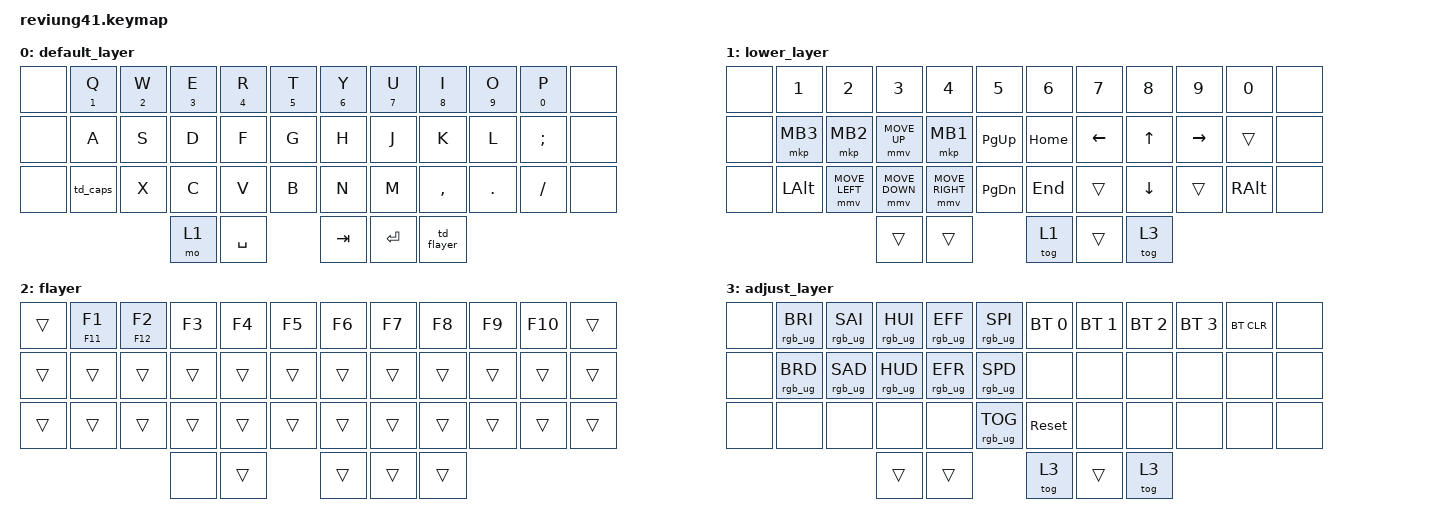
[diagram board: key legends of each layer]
/*
 * Copyright (c) 2026 J. Korinth
 *
 * SPDX-License-Identifier: MIT
 */

#include <behaviors.dtsi>
#include <dt-bindings/zmk/bt.h>
#include <dt-bindings/zmk/keys.h>
#include <dt-bindings/zmk/pointing.h>
#include <dt-bindings/zmk/rgb.h>

/ {
    combos {
        compatible = "zmk,combos";
        timeout-ms = <15>;

        combo_tilde {
            key-positions = <1 2>;
            bindings = <&kp TILDE>;
        };

        combo_lparen {
            key-positions = <3 4>;
            bindings = <&kp LPAR>;
        };

        combo_div {
            key-positions = <4 5>;
            bindings = <&kp FSLH>;
        };

        combo_mul {
            key-positions = <6 7>;
            bindings = <&kp ASTERISK>;
        };

        combo_rparen {
            key-positions = <7 8>;
            bindings = <&kp RPAR>;
        };

        combo_eq {
            key-positions = <8 9>;
            bindings = <&kp EQUAL>;
        };

        combo_bslh {
            key-positions = <33 34>;
            bindings = <&kp BSLH>;
        };

        // row 2

        combo_lbrace {
            key-positions = <15 16>;
            bindings = <&kp LBRC>;
        };

        combo_minus {
            key-positions = <16 17>;
            bindings = <&kp MINUS>;
        };

        combo_plus {
            key-positions = <18 19>;
            bindings = <&kp PLUS>;
        };

        combo_rbrace {
            key-positions = <19 20>;
            bindings = <&kp RBRC>;
        };

        combo_amps {
            key-positions = <20 21>;
            bindings = <&kp AMPS>;
        };

        combo_bktk {
            key-positions = <20 22 21>;
            bindings = <&kp GRAVE>;
        };

        // row 3

        combo_lbracket {
            key-positions = <27 28>;
            bindings = <&kp LBKT>;
        };

        combo_excl {
            key-positions = <28 29>;
            bindings = <&kp EXCL>;
        };

        combo_pipe {
            key-positions = <30 31>;
            bindings = <&kp PIPE>;
        };

        combo_rbracket {
            key-positions = <31 32>;
            bindings = <&kp RBKT>;
        };

        combo_ul {
            key-positions = <32 33>;
            bindings = <&kp UNDER>;
        };

        // home row mods

        combo_lshft {
            key-positions = <13 15>;
            bindings = <&ht_sticky LSHFT LSHFT>;
        };

        combo_rshft {
            key-positions = <20 22>;
            bindings = <&ht_sticky RSHFT RSHFT>;
        };

        combo_lctrl {
            key-positions = <14 16>;
            bindings = <&ht_sticky LCTRL LCTRL>;
        };

        combo_rctrl {
            key-positions = <19 21>;
            bindings = <&ht_sticky RCTRL RCTRL>;
        };

        combo_lgui {
            key-positions = <25 28>;
            bindings = <&ht_sticky LCTRL LCTRL>;
        };

        combo_rgui {
            key-positions = <34 31>;
            bindings = <&kp RCTRL>;
        };

        combo_lalt {
            key-positions = <13 16>;
            bindings = <&ht_sticky LALT LALT>;
        };

        combo_ralt {
            key-positions = <19 22>;
            bindings = <&ht_sticky RALT RALT>;
        };

        combo_bkspc {
            key-positions = <20 21 19>;
            bindings = <&kp BSPC>;
        };

        combo_sqt {
            key-positions = <21 22>;
            bindings = <&kp SQT>;
        };

        // bluetooth

        combo_bt0 {
            timeout-ms = <500>;
            require-prior-idle-ms = <1000>;
            key-positions = <0 1 2 3 6>;
            bindings = <&bt BT_SEL 0>;
        };

        combo_bt1 {
            timeout-ms = <500>;
            require-prior-idle-ms = <1000>;
            key-positions = <0 1 2 3 7>;
            bindings = <&bt BT_SEL 1>;
        };

        combo_bt2 {
            timeout-ms = <500>;
            require-prior-idle-ms = <1000>;
            key-positions = <0 1 2 3 8>;
            bindings = <&bt BT_SEL 2>;
        };

        combo_bt_clear {
            timeout-ms = <500>;
            require-prior-idle-ms = <1000>;
            key-positions = <0 1 2 3 11>;
            bindings = <&bt BT_CLR>;
        };

        // mouse mode

        combo_esc {
            bindings = <&kp ESC>;
            key-positions = <14 15 16>;
        };
    };

    td_caps: td_caps {
        compatible = "zmk,behavior-tap-dance";
        #binding-cells = <0>;
        tapping-term-ms = <250>;
        bindings = <&kp Z>, <&caps_word>;
    };

    ht_sticky: ht_sticky {
        compatible = "zmk,behavior-hold-tap";
        label = "HT_STICKY";
        bindings = <&kp>, <&sk>;

        #binding-cells = <2>;
        tapping-term-ms = <175>;
        flavor = "balanced";
    };

    td_flayer: td_flayer {
        compatible = "zmk,behavior-tap-dance";
        label = "TD_FLAYER";
        #binding-cells = <0>;
        bindings = <&mo 1>, <&sl 2>;
    };

    behaviors {
    };

    keymap {
        compatible = "zmk,keymap";

        default_layer {
            // -------------------------------------------------------------------------------------
            // | TAB   | Q     | W     | E     | R     |  T  |   |  Y  | U     | I     | O     | P     | BSPC   |
            // | ESC   | LS(A) | LC(S) | LA(D) | LG(F) |  G  |   |  H  | J     | K     | L     | ;     | '      |
            // | cw    | Z     | X     | C     | V     |  B  |   |  N  | RG(M) | RA(,) | RC(.) | RS(/) | RCTRL  |
            //                                 | MO(1) | SPC | TOG(2) | RET | MO(1) |

            bindings = <
&none  &mt N1 Q  &mt N2 W  &mt N3 E  &mt N4 R   &mt N5 T           &mt N6 Y  &mt N7 U  &mt N8 I    &mt N9 O  &mt N0 P  &none
&none  &kp A     &kp S     &kp D     &kp F      &kp G              &kp H     &kp J     &kp K       &kp L     &kp SEMI  &none
&none  &td_caps  &kp X     &kp C     &kp V      &kp B              &kp N     &kp M     &kp COMMA   &kp DOT   &kp FSLH  &none
                           &mo 1     &kp SPACE            &kp TAB            &kp RET   &td_flayer
            >;
        };

        lower_layer {
            // ---------------------------------------------------------------------------------------
            // | LG  |  1  |  2  |  3  |  4  |  5   | | |   6  |   7  |   8  |   9   |  0  | DEL |
            // | LSH | MB3 | MB2 | M_U | MB1 | PGUP | | | HOME | LEFT |  UP  | RIGHT |  ^  | RSH |
            // | LC  | LA  | M_L | M_D | M_R | PGDN | | |  END |   ^  | DOWN |   ^   | RA  | RC  |
            //                   |  ^  |  ^  |      | ^ |   ^  |   ^  |

            bindings = <
&none  &kp N1    &kp N2          &kp N3          &kp N4           &kp N5             &kp N6    &kp N7    &kp N8    &kp N9     &kp N0    &none
&none  &mkp MB3  &mkp MB2        &mmv MOVE_UP    &mkp MB1         &kp PG_UP          &kp HOME  &kp LEFT  &kp UP    &kp RIGHT  &trans    &none
&none  &kp LALT  &mmv MOVE_LEFT  &mmv MOVE_DOWN  &mmv MOVE_RIGHT  &kp PG_DN          &kp END   &trans    &kp DOWN  &trans     &kp RALT  &none
                                 &trans          &trans                      &tog 1            &trans    &tog 3
            >;
        };

        flayer {
            bindings = <
&trans  &mt F11 F1  &mt F12 F2  &kp F3  &kp F4  &kp F5          &kp F6  &kp F7  &kp F8  &kp F9  &kp F10  &trans
&trans  &trans      &trans      &trans  &trans  &trans          &trans  &trans  &trans  &trans  &trans   &trans
&trans  &trans      &trans      &trans  &trans  &trans          &trans  &trans  &trans  &trans  &trans   &trans
                                &none   &trans          &trans          &trans  &trans
            >;
        };

        adjust_layer {
            // -----------------------------------------------------------------------------------------
            // | | RGB BRI+ | RGB SAT+ | RGB HUE+ | RGB ANI+ | RGB_SPI |   |  BT1  | BT2 | BT3 | BT4 | BT CLR | |
            // | | RGB BRI- | RGB SAT- | RGB HUE- | RGB ANI- | RGB_SPD |   |       |     |     |     |        | | 
            // | |          |          |          |          | RGB_TOG |   | RESET |     |     |     |        | |
            //                                            |     |     |     |     |     |

            bindings = <
&none  &rgb_ug RGB_BRI  &rgb_ug RGB_SAI  &rgb_ug RGB_HUI  &rgb_ug RGB_EFF  &rgb_ug RGB_SPI          &bt BT_SEL 0  &bt BT_SEL 1  &bt BT_SEL 2  &bt BT_SEL 3  &bt BT_CLR  &none
&none  &rgb_ug RGB_BRD  &rgb_ug RGB_SAD  &rgb_ug RGB_HUD  &rgb_ug RGB_EFR  &rgb_ug RGB_SPD          &none         &none         &none         &none         &none       &none
&none  &none            &none            &none            &none            &rgb_ug RGB_TOG          &sys_reset    &none         &none         &none         &none       &none
                                         &trans           &trans                            &tog 3                &trans        &tog 3
            >;
        };
    };
};

&mt {
    tapping-term-ms = <200>;
    flavor = "tap-preferred";
};

&sk { release-after-ms = <5000>; };

